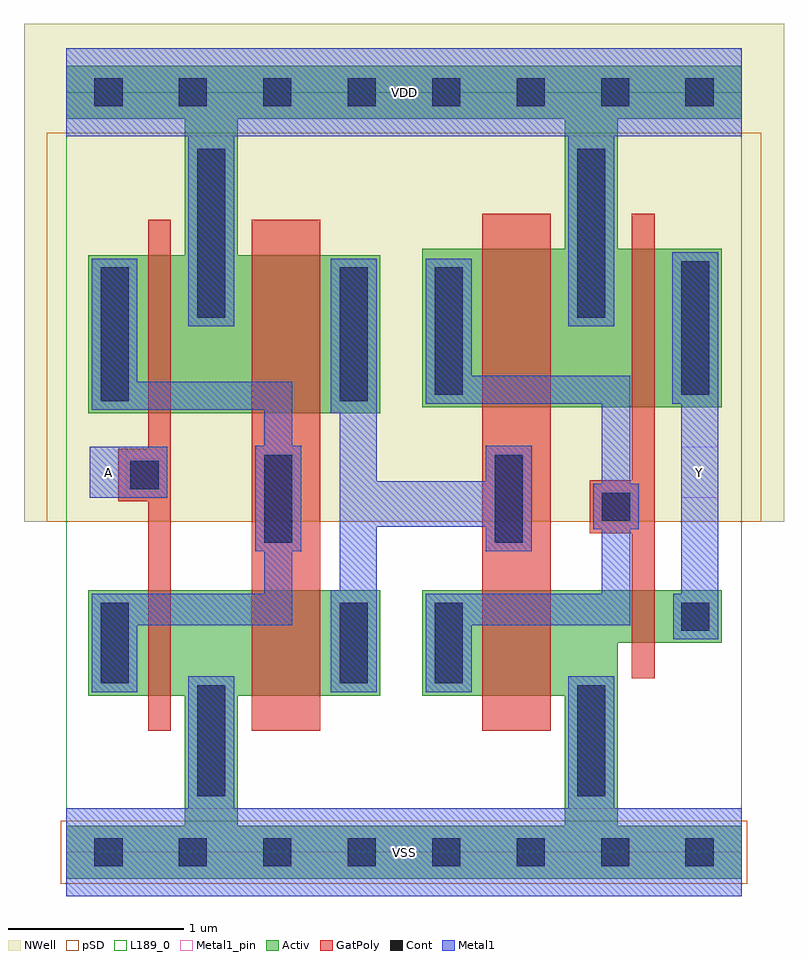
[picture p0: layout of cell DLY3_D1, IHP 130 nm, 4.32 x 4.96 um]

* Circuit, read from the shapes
.subckt DLY3_D1 A VDD VSS Y
XM1 VSS A n1 VSS sg13_lv_nmos w=0.6u l=0.13u
XM2 n2 n1 VSS VSS sg13_lv_nmos w=0.6u l=0.39u
XM3 VSS n2 n3 VSS sg13_lv_nmos w=0.6u l=0.39u
XM4 Y n3 VSS VSS sg13_lv_nmos w=0.3u l=0.13u
XM5 VDD A n1 VDD sg13_lv_pmos w=0.9u l=0.13u
XM6 n2 n1 VDD VDD sg13_lv_pmos w=0.9u l=0.39u
XM7 VDD n2 n3 VDD sg13_lv_pmos w=0.9u l=0.39u
XM8 Y n3 VDD VDD sg13_lv_pmos w=0.9u l=0.13u
.ends

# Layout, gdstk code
import gdstk
lib = gdstk.Library(unit=1e-6, precision=1e-09)
def R(c, l, rs):  # rectangles x0, y0, x1, y1
    for r in rs: c.add(gdstk.rectangle(r[:2], r[2:], *l))
def A(c, l, x, y, w, h, nx, ny, dx, dy):  # array of equal rectangles
    R(c, l, [(x+i*dx, y+j*dy, x+i*dx+w, y+j*dy+h) for i in range(nx) for j in range(ny)])
def P(c, l, *ps):  # polygons
    for p in ps: c.add(gdstk.Polygon(p, *l))
Activ = (1, 0)
GatPoly = (5, 0)
Cont = (6, 0)
Metal1 = (8, 0)
Metal1_pin = (8, 2)
pSD = (14, 0)
NWell = (31, 0)
L189_0 = (189, 0)

dly3_d1 = lib.new_cell('DLY3_D1')
P(dly3_d1, Activ, [(0,-0.15),(0,0.15),(0.675,0.15),(0.675,0.89),(0.125,0.89),(0.125,1.49),(1.785,1.49),(1.785,0.89),(0.975,0.89),(0.975,0.15),(2.835,0.15),(2.835,0.89),(2.025,0.89),(2.025,1.49),(3.725,1.49),(3.725,1.19),(3.135,1.19),(3.135,0.15),(3.84,0.15),(3.84,-0.15)],
  [(0.125,2.495),(0.125,3.395),(0.675,3.395),(0.675,4.17),(0,4.17),(0,4.47),(3.84,4.47),(3.84,4.17),(3.135,4.17),(3.135,3.43),(3.725,3.43),(3.725,2.53),(2.025,2.53),(2.025,3.43),(2.835,3.43),(2.835,4.17),(0.975,4.17),(0.975,3.395),(1.785,3.395),(1.785,2.495)])
R(dly3_d1, GatPoly, [(1.055,0.69,1.445,3.595), (2.365,0.69,2.755,3.63)])
P(dly3_d1, GatPoly, [(0.465,0.69),(0.465,1.995),(0.295,1.995),(0.295,2.295),(0.465,2.295),(0.465,3.595),(0.595,3.595),(0.595,0.69)],
  [(3.215,0.99),(3.215,1.815),(2.975,1.815),(2.975,2.115),(3.215,2.115),(3.215,3.63),(3.345,3.63),(3.345,0.99)])
A(dly3_d1, Cont, 0.16, -0.08, 0.16, 0.16, 8, 2, 0.48, 4.32)
R(dly3_d1, Cont, [(0.745,0.32,0.905,0.95), (2.905,0.32,3.065,0.95), (0.195,0.96,0.355,1.42), (1.555,0.96,1.715,1.42), (2.095,0.96,2.255,1.42), (3.495,1.26,3.655,1.42), (1.125,1.76,1.285,2.26), (2.435,1.76,2.595,2.26), (3.045,1.885,3.205,2.045), (0.365,2.065,0.525,2.225), (0.195,2.565,0.355,3.325), (1.555,2.565,1.715,3.325), (2.095,2.6,2.255,3.325), (3.495,2.6,3.655,3.36), (0.745,3.04,0.905,4), (2.905,3.04,3.065,4)])
R(dly3_d1, Metal1, [(0.135,2.015,0.575,2.305)])
P(dly3_d1, Metal1, [(0,-0.25),(0,0.25),(0.695,0.25),(0.695,1),(0.955,1),(0.955,0.25),(2.855,0.25),(2.855,1),(3.115,1),(3.115,0.25),(3.84,0.25),(3.84,-0.25)],
  [(0.145,0.91),(0.145,1.47),(1.125,1.47),(1.125,1.71),(1.075,1.71),(1.075,2.31),(1.125,2.31),(1.125,2.515),(0.145,2.515),(0.145,3.375),(0.405,3.375),(0.405,2.675),(1.285,2.675),(1.285,2.31),(1.335,2.31),(1.335,1.71),(1.285,1.71),(1.285,1.29),(0.405,1.29),(0.405,0.91)],
  [(1.505,0.91),(1.505,1.49),(1.555,1.49),(1.555,2.495),(1.505,2.495),(1.505,3.375),(1.765,3.375),(1.765,2.11),(2.385,2.11),(2.385,2.31),(2.645,2.31),(2.645,1.71),(2.385,1.71),(2.385,1.85),(1.765,1.85),(1.765,0.91)],
  [(2.045,0.91),(2.045,1.47),(3.045,1.47),(3.045,1.835),(2.995,1.835),(2.995,2.095),(3.045,2.095),(3.045,2.55),(2.045,2.55),(2.045,3.375),(2.305,3.375),(2.305,2.71),(3.205,2.71),(3.205,2.095),(3.255,2.095),(3.255,1.835),(3.205,1.835),(3.205,1.29),(2.305,1.29),(2.305,0.91)],
  [(3.45,1.21),(3.45,1.47),(3.495,1.47),(3.495,2.55),(3.445,2.55),(3.445,3.41),(3.705,3.41),(3.705,1.21)],
  [(0.695,2.99),(0.695,4.07),(0,4.07),(0,4.57),(3.84,4.57),(3.84,4.07),(3.115,4.07),(3.115,2.99),(2.855,2.99),(2.855,4.07),(0.955,4.07),(0.955,2.99)])
R(dly3_d1, Metal1_pin, [(0,-0.25,3.84,0.25), (0.135,2.015,0.345,2.305), (3.495,2.015,3.705,2.305), (0,4.07,3.84,4.57)])
R(dly3_d1, pSD, [(-0.03,-0.18,3.87,0.18), (-0.11,1.88,3.95,4.09)])
R(dly3_d1, NWell, [(-0.24,1.88,4.08,4.71)])
R(dly3_d1, L189_0, [(0,0,3.84,4.32)])
dly3_d1.add(gdstk.Label('A', (0.24,2.16), layer=8, texttype=25))
dly3_d1.add(gdstk.Label('Y', (3.6,2.16), layer=8, texttype=25))
dly3_d1.add(gdstk.Label('VSS', (1.92,0), layer=8, texttype=25))
dly3_d1.add(gdstk.Label('VDD', (1.925,4.32), layer=8, texttype=25))

lib.write_gds('DLY3_D1.gds')
